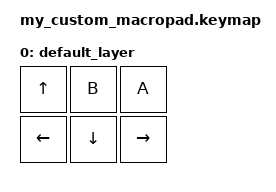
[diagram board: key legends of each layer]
#include <behaviors.dtsi>
#include <dt-bindings/zmk/keys.h>

/ {
	keymap {
		compatible = "zmk,keymap";

		default_layer {
// |           |  MX1(up)  |            |     | MX6(B) | MX3(A) |
// | MX4(left) | MX5(down) | MX2(right) |     |        |        |
            bindings = <
              &kp UP               &kp B  &kp A
    &kp LEFT  &kp DOWN  &kp RIGHT
            >;
		};
	};
};
